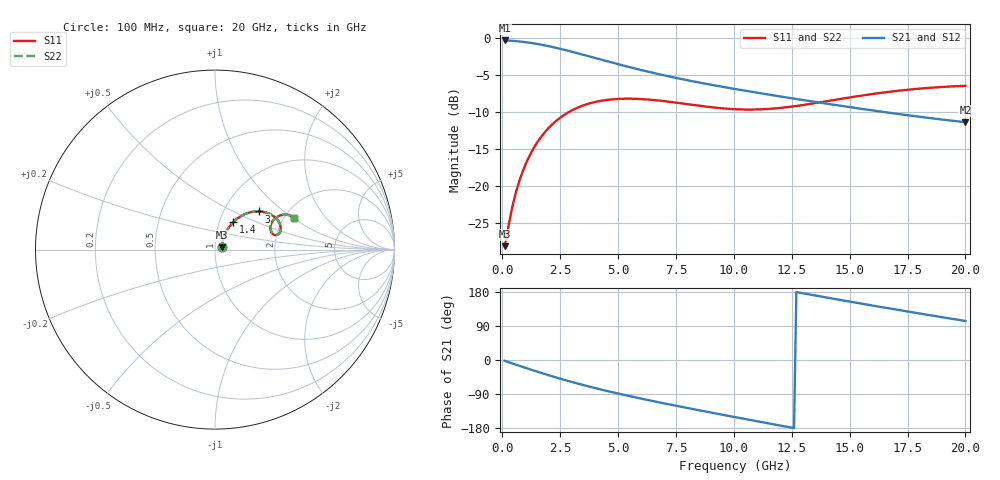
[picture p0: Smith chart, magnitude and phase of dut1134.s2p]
! Touchstone file exported from HFSS 2024.1.0
!  File:  C:/UserFiles/LocalFiles/RDL_TSV_Batchsim/temp_RDL_TSV_1134_1780111302.aedt
!  Generated:  11:36:15 AM May 30, 2026
!  Design:  RDL_TSV
!  Project:  temp_RDL_TSV_1134_1780111302
!  Setup:  Setup1
!  Solution:  Sweep
! Variables:
!  dtsv = 5.23um
!  hbump = 3um
!  htsv = 73.16um
!  ldown = 535.96um
!  lrdl = 552.63um
!  p = 40
!  p1 = 55.59um
!  rhole = 10um
!  subl = 3818.4um
!  t = 450um
!  tdown = 3.87um
!  trdl = 2.29um
!  viad = 10um
!  wdown = 20.87um
!  wrdl = 11.9um
!  xbump = 18um
# GHz S MA R 50.000000
! Terminal data exported
! Port[1] = TM1_1_T1
! Port[2] = TM1_4_T1
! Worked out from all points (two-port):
!   200 points, 100 MHz to 20 GHz, reference 50 ohm
!   highest |S21| = -0.32 dB at 100 MHz (marker M1); lowest = -11.4 dB at 20 GHz (marker M2)
!   |S21| within 3 dB of the highest: start of sweep to 4.737 GHz
!   lowest |S11| = -28.2 dB at 100 MHz (marker M3), VSWR 1.08, Z = 53.8 + j1.45 ohm
!   |S11| at or under -10 dB: start of sweep to 2.889 GHz
!   |S22| runs from -28.2 to -6.4 dB; largest |S21 - S12| = 1e-14
!   S11 on the Smith chart (normalised r, x): 100 MHz: 1.08, +0.03; 1.4 GHz: 1.16, +0.37; 3 GHz: 1.45, +0.69; 20 GHz: 2.25, +1.03
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0.1  0.03888 20.2  0.9636 -2.1  0.9636 -2.1  0.03888 20.2
! Gamma 0 0 0 0
! Port Impedance 50 0 50 0
0.4  0.06768 49.9  0.9586 -8.5  0.9586 -8.5  0.06767 49.9
0.7  0.1032 56.9  0.9499 -14.6  0.9499 -14.6  0.1032 57.0
1  0.1387 58.1  0.9383 -20.7  0.9383 -20.7  0.1387 58.1
1.4  0.1843 56.4  0.9186 -28.6  0.9186 -28.6  0.1843 56.4
1.8  0.2263 53.1  0.8947 -36.4  0.8947 -36.4  0.2264 53.2
2.2  0.2638 49.3  0.8676 -43.8  0.8676 -43.8  0.2639 49.4
2.6  0.2962 45.2  0.8384 -51.0  0.8384 -51.0  0.2964 45.3
3  0.3232 41.1  0.8082 -57.9  0.8082 -57.9  0.3236 41.3
3.5  0.3497 36.3  0.7702 -66.2  0.7702 -66.2  0.3502 36.4
4.2  0.3742 30.1  0.7189 -77.0  0.7189 -77.0  0.3749 30.2
5.1  0.3875 23.4  0.6589 -89.9  0.6589 -89.9  0.3885 23.6
5.9  0.3868 18.9  0.6124 -100.6  0.6124 -100.6  0.3881 19.0
6.8  0.3768 15.3  0.5675 -112.1  0.5675 -112.1  0.3783 15.5
8.4  0.3497 13.4  0.5032 -131.5  0.5032 -131.5  0.3515 13.5
10.1  0.3293 16.6  0.4503 -151.3  0.4503 -151.3  0.3311 16.7
11.7  0.3328 22.1  0.4093 -169.6  0.4093 -169.6  0.3345 22.1
13.4  0.36 26.5  0.3716 171.5  0.3716 171.5  0.3615 26.4
15  0.3958 27.8  0.3406 154.1  0.3406 154.1  0.3973 27.7
16.7  0.4322 26.7  0.3119 136.2  0.3119 136.2  0.4336 26.7
18.3  0.4582 24.6  0.2891 119.9  0.2891 119.9  0.4596 24.6
20  0.4747 21.9  0.2692 102.9  0.2692 102.9  0.4763 22.0
